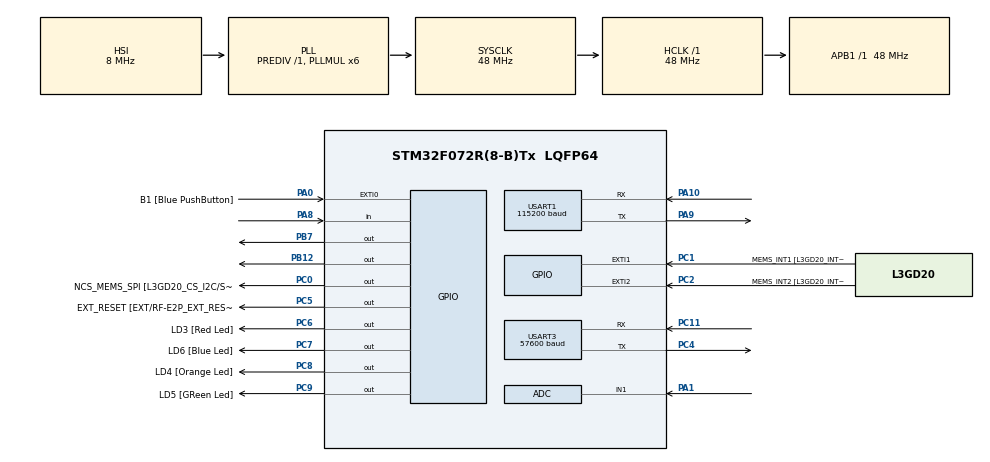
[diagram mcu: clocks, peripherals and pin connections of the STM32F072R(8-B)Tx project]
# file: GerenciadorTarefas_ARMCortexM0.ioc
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Mcu.Family=STM32F0
Mcu.Name=STM32F072R(8-B)Tx
Mcu.Package=LQFP64
NVIC.USART1_IRQn=true\:0\:0\:false\:false\:true
NVIC.USART3_4_IRQn=true\:0\:0\:false\:false\:true
PA0.GPIO_Label=B1 [Blue PushButton]
PA0.GPIO_ModeDefaultEXTI=GPIO_MODE_EVT_RISING
PA0.Signal=GPXTI0
PA1.Mode=IN1
PA1.Signal=ADC_IN1
PA10.Mode=Asynchronous
PA10.Signal=USART1_RX
PA11.GPIO_Label=USBF4_DM
PA11.Signal=USB_DM
PA12.GPIO_Label=USBF4_DP
PA12.Signal=USB_DP
PA13.GPIO_Label=SWDIO
PA13.Signal=SYS_SWDIO
PA14.GPIO_Label=SWCLK
PA14.Signal=SYS_SWCLK
PA2.Signal=TSC_G1_IO3
PA3.Signal=TSC_G1_IO4
PA6.Signal=TSC_G2_IO3
PA7.Signal=TSC_G2_IO4
PA8.Signal=GPIO_Input
PA9.Mode=Asynchronous
PA9.Signal=USART1_TX
PB0.Signal=TSC_G3_IO2
PB1.Signal=TSC_G3_IO3
PB10.GPIO_Label=I2C2_SCL[EXT/RF-E2P_SCL]
PB10.Signal=I2C2_SCL
PB11.GPIO_Label=I2C2_SDA[EXT/RF-E2P_SDA]
PB11.Signal=I2C2_SDA
PB12.Signal=GPIO_Output
PB13.GPIO_Label=SPI2_SCK [L3GD20_SCL/SPC]
PB13.Signal=SPI2_SCK
PB14.GPIO_Label=SPI2_MISO [L3GD20_SDO]
PB14.Signal=SPI2_MISO
PB15.GPIO_Label=SPI2_MOSI [L3GD20_SDA/SDI]
PB15.Signal=SPI2_MOSI
PB7.Signal=GPIO_Output
PC0.GPIO_Label=NCS_MEMS_SPI [L3GD20_CS_I2C/SPI]
PC0.Signal=GPIO_Output
PC1.GPIO_Label=MEMS_INT1 [L3GD20_INT1]
PC1.GPIO_ModeDefaultEXTI=GPIO_MODE_EVT_RISING
PC1.Signal=GPXTI1
PC11.Mode=Asynchronous
PC11.Signal=USART3_RX
PC2.GPIO_Label=MEMS_INT2 [L3GD20_INT2]
PC2.GPIO_ModeDefaultEXTI=GPIO_MODE_EVT_RISING
PC2.Signal=GPXTI2
PC4.Mode=Asynchronous
PC4.Signal=USART3_TX
PC5.GPIO_Label=EXT_RESET [EXT/RF-E2P_EXT_RESET]
PC5.Signal=GPIO_Output
PC6.GPIO_Label=LD3 [Red Led]
PC6.Signal=GPIO_Output
PC7.GPIO_Label=LD6 [Blue Led]
PC7.Signal=GPIO_Output
PC8.GPIO_Label=LD4 [Orange Led]
PC8.Signal=GPIO_Output
PC9.GPIO_Label=LD5 [GReen Led]
PC9.Signal=GPIO_Output
ProjectManager.HeapSize=0x200
ProjectManager.StackSize=0x400
ProjectManager.TargetToolchain=MDK-ARM V5
RCC.AHBFreq_Value=48000000
RCC.APB1Freq_Value=48000000
RCC.APB1TimFreq_Value=48000000
RCC.HCLKFreq_Value=48000000
RCC.PLLMUL=RCC_PLL_MUL6
RCC.SYSCLKFreq_VALUE=48000000
RCC.SYSCLKSource=RCC_SYSCLKSOURCE_PLLCLK
USART1.BaudRate=115200
USART1.VirtualMode-Asynchronous=VM_ASYNC
USART1.WordLength=UART_WORDLENGTH_8B
USART3.BaudRate=57600
USART3.VirtualMode-Asynchronous=VM_ASYNC
USART3.WordLength=UART_WORDLENGTH_8B
board=STM32F072B-DISCO

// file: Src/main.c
/**
  ******************************************************************************
  * File Name          : main.c
  * Description        : Main program body
  ******************************************************************************
  *
  * COPYRIGHT(c) 2016 STMicroelectronics
  *
  * Redistribution and use in source and binary forms, with or without modification,
  * are permitted provided that the following conditions are met:
  *   1. Redistributions of source code must retain the above copyright notice,
  *      this list of conditions and the following disclaimer.
  *   2. Redistributions in binary form must reproduce the above copyright notice,
  *      this list of conditions and the following disclaimer in the documentation
  *      and/or other materials provided with the distribution.
  *   3. Neither the name of STMicroelectronics nor the names of its contributors
  *      may be used to endorse or promote products derived from this software
  *      without specific prior written permission.
  *
  * THIS SOFTWARE IS PROVIDED BY THE COPYRIGHT HOLDERS AND CONTRIBUTORS "AS IS"
  * AND ANY EXPRESS OR IMPLIED WARRANTIES, INCLUDING, BUT NOT LIMITED TO, THE
  * IMPLIED WARRANTIES OF MERCHANTABILITY AND FITNESS FOR A PARTICULAR PURPOSE ARE
  * DISCLAIMED. IN NO EVENT SHALL THE COPYRIGHT HOLDER OR CONTRIBUTORS BE LIABLE
  * FOR ANY DIRECT, INDIRECT, INCIDENTAL, SPECIAL, EXEMPLARY, OR CONSEQUENTIAL
  * DAMAGES (INCLUDING, BUT NOT LIMITED TO, PROCUREMENT OF SUBSTITUTE GOODS OR
  * SERVICES; LOSS OF USE, DATA, OR PROFITS; OR BUSINESS INTERRUPTION) HOWEVER
  * CAUSED AND ON ANY THEORY OF LIABILITY, WHETHER IN CONTRACT, STRICT LIABILITY,
  * OR TORT (INCLUDING NEGLIGENCE OR OTHERWISE) ARISING IN ANY WAY OUT OF THE USE
  * OF THIS SOFTWARE, EVEN IF ADVISED OF THE POSSIBILITY OF SUCH DAMAGE.
  *
  ******************************************************************************
  */

#define DEF_MAIN

#include "stm32f0xx_hal.h"
#include "adc.h"
#include "tim.h"
#include "usart.h"
#include "gpio.h"

/* USER CODE BEGIN Includes */
#include "GerenciadorTarefas.h"
#include "DadosCompartilhados.h"

#define LED3(X)      HAL_GPIO_WritePin(GPIOC, GPIO_PIN_6,X)
#define LED4(X)      HAL_GPIO_WritePin(GPIOC, GPIO_PIN_7,X)
#define LED5(X)      HAL_GPIO_WritePin(GPIOC, GPIO_PIN_8,X)
#define LED6(X)      HAL_GPIO_WritePin(GPIOC, GPIO_PIN_9,X)
#define BOTAO_USER   HAL_GPIO_ReadPin(GPIOA, GPIO_PIN_0)
/* USER CODE END Includes */

/* USER CODE BEGIN PV */
/* Private variables ---------------------------------------------------------*/

/* USER CODE END PV */

void SystemClock_Config(void);
void Error_Handler(void);

/* USER CODE BEGIN PFP */
/* Private function prototypes -----------------------------------------------*/

/* USER CODE END PFP */

int main(void)
{

  /* MCU Configuration----------------------------------------------------------*/

  /* Reset of all peripherals, Initializes the Flash interface and the Systick. */
  HAL_Init();

  /* Configure the system clock */
  SystemClock_Config();

  /* Initialize all configured peripherals */
  MX_GPIO_Init();
  MX_USART1_UART_Init();
  MX_USART3_UART_Init();
  MX_ADC_Init();

  /* USER CODE BEGIN 2 */
	//inicializações
  IniciaGerenciadorTarefas();
	InicializaDadosCompartilhados();

  /* USER CODE END 2 */

  /* Infinite loop */
	while (1)
  {

  /* USER CODE BEGIN 3 */
			ExecutaTarefa();
  }
  /* USER CODE END 3 */

}

/** System Clock Configuration
*/
void SystemClock_Config(void)
{

  RCC_OscInitTypeDef RCC_OscInitStruct;
  RCC_ClkInitTypeDef RCC_ClkInitStruct;
  RCC_PeriphCLKInitTypeDef PeriphClkInit;

  RCC_OscInitStruct.OscillatorType = RCC_OSCILLATORTYPE_HSI|RCC_OSCILLATORTYPE_HSI14;
  RCC_OscInitStruct.HSIState = RCC_HSI_ON;
  RCC_OscInitStruct.HSI14State = RCC_HSI14_ON;
  RCC_OscInitStruct.HSICalibrationValue = 16;
  RCC_OscInitStruct.HSI14CalibrationValue = 16;
  RCC_OscInitStruct.PLL.PLLState = RCC_PLL_ON;
  RCC_OscInitStruct.PLL.PLLSource = RCC_PLLSOURCE_HSI;
  RCC_OscInitStruct.PLL.PLLMUL = RCC_PLL_MUL6;
  RCC_OscInitStruct.PLL.PREDIV = RCC_PREDIV_DIV1;
  if (HAL_RCC_OscConfig(&RCC_OscInitStruct) != HAL_OK)
  {
    Error_Handler();
  }

  RCC_ClkInitStruct.ClockType = RCC_CLOCKTYPE_HCLK|RCC_CLOCKTYPE_SYSCLK
                              |RCC_CLOCKTYPE_PCLK1;
  RCC_ClkInitStruct.SYSCLKSource = RCC_SYSCLKSOURCE_PLLCLK;
  RCC_ClkInitStruct.AHBCLKDivider = RCC_SYSCLK_DIV1;
  RCC_ClkInitStruct.APB1CLKDivider = RCC_HCLK_DIV1;
  if (HAL_RCC_ClockConfig(&RCC_ClkInitStruct, FLASH_LATENCY_1) != HAL_OK)
  {
    Error_Handler();
  }

  PeriphClkInit.PeriphClockSelection = RCC_PERIPHCLK_USART1;
  PeriphClkInit.Usart1ClockSelection = RCC_USART1CLKSOURCE_PCLK1;
  if (HAL_RCCEx_PeriphCLKConfig(&PeriphClkInit) != HAL_OK)
  {
    Error_Handler();
  }

  HAL_SYSTICK_Config(HAL_RCC_GetHCLKFreq()/1000);

  HAL_SYSTICK_CLKSourceConfig(SYSTICK_CLKSOURCE_HCLK);

  /* SysTick_IRQn interrupt configuration */
  HAL_NVIC_SetPriority(SysTick_IRQn, 0, 0);
}

/* USER CODE BEGIN 4 */

//Função: callback do SysTick (tempo de geração de interrupção/callback: 1ms)
//Parâmetros: nenhum
//Retorno: nenhum
void HAL_SYSTICK_Callback(void)
{
	  long i;

  	//Atualiza o tempo para executar cada tarefa
		for (i=0; i<NUMERO_DE_TAREFAS; i++)
		{
			if (SetupGerenciadorDeTarefas.TempoParaExecutarTarefas[i] > 0)
					SetupGerenciadorDeTarefas.TempoParaExecutarTarefas[i]--;
		}

    if (SetupGerenciadorDeTarefas.HaTarefaEmExecucao == SIM)
    {
        SetupGerenciadorDeTarefas.TimeoutDaTarefa--;

        if (!SetupGerenciadorDeTarefas.TimeoutDaTarefa)
        {
            //O tempo de execução de tarefa já foi maior que o timeout.
					  //Portanto, considera-se que a tarefa travou e que o microcontrolador
					  //precisa ser resetado.
            NVIC_SystemReset();
        }
    }
}

/* USER CODE END 4 */

void Error_Handler(void)
{
  while(1)
  {
  }
}

/************************ (C) COPYRIGHT STMicroelectronics *****END OF FILE****/
